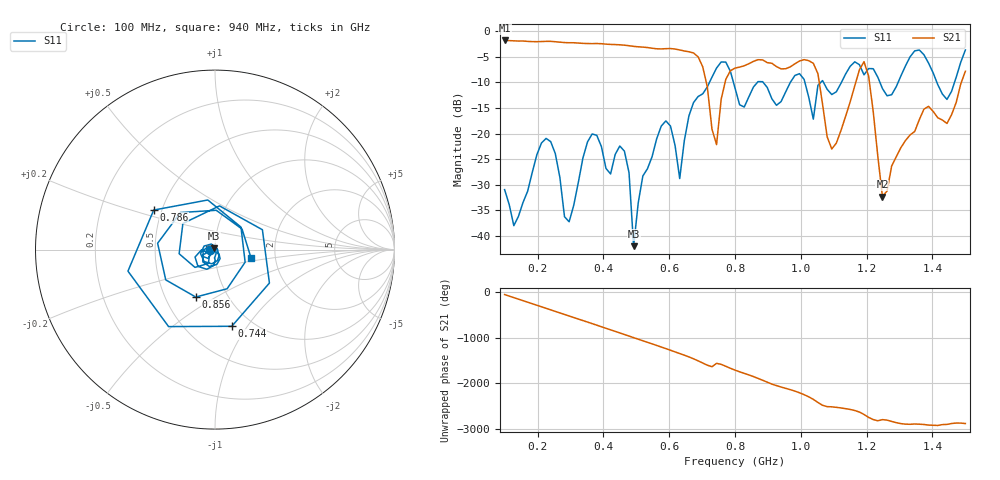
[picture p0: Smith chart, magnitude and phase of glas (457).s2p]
! NanoVNA-App
! Date: 2025-09-25 15:59:02
! Start: 100MHz Stop: 1,5GHz Points: 101
! S-Parameter data: F S11 S21 S12 S22
# Hz S RI R 50
!  Frequency  S11_Real  S11_Imag  S21_Real  S21_Imag  S12_Real  S12_Imag  S22_Real  S22_Imag
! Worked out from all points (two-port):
!   101 points, 100 MHz to 1.5 GHz, reference 50 ohm
!   highest |S21| = -1.80 dB at 100 MHz (marker M1); lowest = -32.3 dB at 1.248 GHz (marker M2)
!   |S21| within 3 dB of the highest: start of sweep to 684.3 MHz
!   lowest |S11| = -42.0 dB at 492 MHz (marker M3), VSWR 1.02, Z = 49.5 + j0.609 ohm
!   |S11| at or under -10 dB: start of sweep to 722.4 MHz; 795.4 MHz to 867.9 MHz (72.52 MHz wide, 8.72 % of centre); 885.8 MHz to 968 MHz (82.17 MHz wide, 8.86 % of centre) (the widest 3 of 7)
!   S12 and S22 are empty: the file has one direction only
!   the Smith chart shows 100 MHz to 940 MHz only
!   S11 on the Smith chart (normalised r, x): 100 MHz: 0.95, -0.01; 744 MHz: 0.81, -0.85; 786 MHz: 0.45, +0.24; 856 MHz: 0.71, -0.41; 940 MHz: 1.49, -0.14
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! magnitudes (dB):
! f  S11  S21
! 100 MHz  -30.9  -1.8
! 128 MHz  -38.0  -1.9
! 226 MHz  -20.9  -2.0
! 296 MHz  -37.2  -2.2
! 338 MHz  -24.7  -2.4
! 464 MHz  -23.4  -2.7
! 492 MHz  -42.0  -3.0
! 576 MHz  -18.5  -3.5
! 632 MHz  -28.8  -3.7
! 702 MHz  -12.2  -6.9
! 744 MHz  -7.2  -22.1
! 786 MHz  -7.8  -7.7
! 800 MHz  -11.1  -7.2
! 856 MHz  -10.9  -5.9
! 940 MHz  -13.7  -7.3
! 1.038 GHz  -17.2  -6.3
! 1.094 GHz  -12.4  -23.0
! 1.192 GHz  -8.5  -5.9
! 1.248 GHz  -11.2  -32.3
! 1.276 GHz  -12.4  -26.3
! 1.444 GHz  -13.3  -18.0
! 1.5 GHz  -3.7  -7.8
